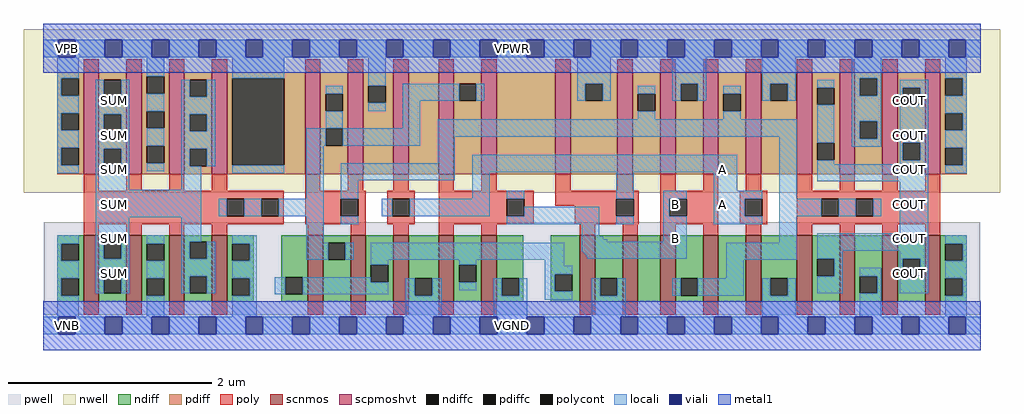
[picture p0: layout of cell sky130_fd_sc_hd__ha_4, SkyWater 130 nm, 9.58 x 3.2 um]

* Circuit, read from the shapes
.subckt sky130_fd_sc_hd__ha_4 A B VGND VNB VPB VPWR COUT SUM
XM1 SUM n1 VGND VNB sky130_fd_pr__nfet_01v8 w=0.65 l=0.15 m=4
XM2 n1 n2 n3 VNB sky130_fd_pr__nfet_01v8 w=0.65 l=0.15 m=2
XM3 VGND A n3 VNB sky130_fd_pr__nfet_01v8 w=0.65 l=0.15 m=2
XM4 n3 B VGND VNB sky130_fd_pr__nfet_01v8 w=0.65 l=0.15 m=2
XM5 n4 A VGND VNB sky130_fd_pr__nfet_01v8 w=0.65 l=0.15
XM6 n2 B n4 VNB sky130_fd_pr__nfet_01v8 w=0.65 l=0.15
XM7 n5 B n2 VNB sky130_fd_pr__nfet_01v8 w=0.65 l=0.15
XM8 VGND A n5 VNB sky130_fd_pr__nfet_01v8 w=0.65 l=0.15
XM9 COUT n2 VGND VNB sky130_fd_pr__nfet_01v8 w=0.65 l=0.15 m=4
XM10 SUM n1 VPWR VPB sky130_fd_pr__pfet_01v8_hvt w=1 l=0.15 m=4
XM11 n1 n2 VPWR VPB sky130_fd_pr__pfet_01v8_hvt w=1 l=0.15 m=2
XM12 n6 A VPWR VPB sky130_fd_pr__pfet_01v8_hvt w=1 l=0.15
XM13 n1 B n6 VPB sky130_fd_pr__pfet_01v8_hvt w=1 l=0.15
XM14 n7 B n1 VPB sky130_fd_pr__pfet_01v8_hvt w=1 l=0.15
XM15 VPWR A n7 VPB sky130_fd_pr__pfet_01v8_hvt w=1 l=0.15
XM16 n2 A VPWR VPB sky130_fd_pr__pfet_01v8_hvt w=1 l=0.15 m=2
XM17 VPWR B n2 VPB sky130_fd_pr__pfet_01v8_hvt w=1 l=0.15 m=2
XM18 COUT n2 VPWR VPB sky130_fd_pr__pfet_01v8_hvt w=1 l=0.15 m=4
.ends

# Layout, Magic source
magic
tech sky130B
magscale 1 2
<< nwell >>
rect -38 261 1878 582
<< pwell >>
rect 1 21 1839 203
rect 30 -17 64 21
<< scnmos >>
rect 79 47 109 177
rect 163 47 193 177
rect 247 47 277 177
rect 331 47 361 177
rect 519 47 549 177
rect 603 47 633 177
rect 687 47 717 177
rect 776 47 806 177
rect 860 47 890 177
rect 1053 47 1083 177
rect 1137 47 1167 177
rect 1211 47 1241 177
rect 1295 47 1325 177
rect 1379 47 1409 177
rect 1479 47 1509 177
rect 1563 47 1593 177
rect 1647 47 1677 177
rect 1731 47 1761 177
<< scpmoshvt >>
rect 79 297 109 497
rect 163 297 193 497
rect 247 297 277 497
rect 331 297 361 497
rect 514 297 544 497
rect 598 297 628 497
rect 687 297 717 497
rect 776 297 806 497
rect 860 297 890 497
rect 1005 297 1035 497
rect 1127 297 1157 497
rect 1211 297 1241 497
rect 1295 297 1325 497
rect 1379 297 1409 497
rect 1479 297 1509 497
rect 1563 297 1593 497
rect 1647 297 1677 497
rect 1731 297 1761 497
<< ndiff >>
rect 27 161 79 177
rect 27 127 35 161
rect 69 127 79 161
rect 27 93 79 127
rect 27 59 35 93
rect 69 59 79 93
rect 27 47 79 59
rect 109 165 163 177
rect 109 131 119 165
rect 153 131 163 165
rect 109 97 163 131
rect 109 63 119 97
rect 153 63 163 97
rect 109 47 163 63
rect 193 161 247 177
rect 193 127 203 161
rect 237 127 247 161
rect 193 93 247 127
rect 193 59 203 93
rect 237 59 247 93
rect 193 47 247 59
rect 277 165 331 177
rect 277 131 287 165
rect 321 131 331 165
rect 277 97 331 131
rect 277 63 287 97
rect 321 63 331 97
rect 277 47 331 63
rect 361 161 413 177
rect 361 127 371 161
rect 405 127 413 161
rect 361 93 413 127
rect 361 59 371 93
rect 405 59 413 93
rect 361 47 413 59
rect 467 95 519 177
rect 467 61 475 95
rect 509 61 519 95
rect 467 47 519 61
rect 549 163 603 177
rect 549 129 559 163
rect 593 129 603 163
rect 549 47 603 129
rect 633 119 687 177
rect 633 85 643 119
rect 677 85 687 119
rect 633 47 687 85
rect 717 93 776 177
rect 717 59 729 93
rect 763 59 776 93
rect 717 47 776 59
rect 806 119 860 177
rect 806 85 816 119
rect 850 85 860 119
rect 806 47 860 85
rect 890 93 942 177
rect 890 59 900 93
rect 934 59 942 93
rect 890 47 942 59
rect 996 101 1053 177
rect 996 67 1004 101
rect 1038 67 1053 101
rect 996 47 1053 67
rect 1083 93 1137 177
rect 1083 59 1093 93
rect 1127 59 1137 93
rect 1083 47 1137 59
rect 1167 47 1211 177
rect 1241 93 1295 177
rect 1241 59 1251 93
rect 1285 59 1295 93
rect 1241 47 1295 59
rect 1325 47 1379 177
rect 1409 93 1479 177
rect 1409 59 1427 93
rect 1461 59 1479 93
rect 1409 47 1479 59
rect 1509 131 1563 177
rect 1509 97 1519 131
rect 1553 97 1563 131
rect 1509 47 1563 97
rect 1593 97 1647 177
rect 1593 63 1603 97
rect 1637 63 1647 97
rect 1593 47 1647 63
rect 1677 131 1731 177
rect 1677 97 1687 131
rect 1721 97 1731 131
rect 1677 47 1731 97
rect 1761 161 1813 177
rect 1761 127 1771 161
rect 1805 127 1813 161
rect 1761 93 1813 127
rect 1761 59 1771 93
rect 1805 59 1813 93
rect 1761 47 1813 59
<< pdiff >>
rect 27 485 79 497
rect 27 451 35 485
rect 69 451 79 485
rect 27 417 79 451
rect 27 383 35 417
rect 69 383 79 417
rect 27 349 79 383
rect 27 315 35 349
rect 69 315 79 349
rect 27 297 79 315
rect 109 483 163 497
rect 109 449 119 483
rect 153 449 163 483
rect 109 415 163 449
rect 109 381 119 415
rect 153 381 163 415
rect 109 347 163 381
rect 109 313 119 347
rect 153 313 163 347
rect 109 297 163 313
rect 193 489 247 497
rect 193 455 203 489
rect 237 455 247 489
rect 193 421 247 455
rect 193 387 203 421
rect 237 387 247 421
rect 193 353 247 387
rect 193 319 203 353
rect 237 319 247 353
rect 193 297 247 319
rect 277 483 331 497
rect 277 449 287 483
rect 321 449 331 483
rect 277 415 331 449
rect 277 381 287 415
rect 321 381 331 415
rect 277 347 331 381
rect 277 313 287 347
rect 321 313 331 347
rect 277 297 331 313
rect 361 485 514 497
rect 361 315 371 485
rect 473 315 514 485
rect 361 297 514 315
rect 544 455 598 497
rect 544 421 554 455
rect 588 421 598 455
rect 544 387 598 421
rect 544 353 554 387
rect 588 353 598 387
rect 544 297 598 353
rect 628 471 687 497
rect 628 437 638 471
rect 672 437 687 471
rect 628 297 687 437
rect 717 297 776 497
rect 806 475 860 497
rect 806 441 816 475
rect 850 441 860 475
rect 806 297 860 441
rect 890 297 1005 497
rect 1035 475 1127 497
rect 1035 441 1064 475
rect 1098 441 1127 475
rect 1035 297 1127 441
rect 1157 455 1211 497
rect 1157 421 1167 455
rect 1201 421 1211 455
rect 1157 297 1211 421
rect 1241 475 1295 497
rect 1241 441 1251 475
rect 1285 441 1295 475
rect 1241 297 1295 441
rect 1325 455 1379 497
rect 1325 421 1335 455
rect 1369 421 1379 455
rect 1325 297 1379 421
rect 1409 475 1479 497
rect 1409 441 1427 475
rect 1461 441 1479 475
rect 1409 297 1479 441
rect 1509 467 1563 497
rect 1509 433 1519 467
rect 1553 433 1563 467
rect 1509 359 1563 433
rect 1509 325 1519 359
rect 1553 325 1563 359
rect 1509 297 1563 325
rect 1593 485 1647 497
rect 1593 451 1603 485
rect 1637 451 1647 485
rect 1593 401 1647 451
rect 1593 367 1603 401
rect 1637 367 1647 401
rect 1593 297 1647 367
rect 1677 467 1731 497
rect 1677 433 1687 467
rect 1721 433 1731 467
rect 1677 359 1731 433
rect 1677 325 1687 359
rect 1721 325 1731 359
rect 1677 297 1731 325
rect 1761 485 1813 497
rect 1761 451 1771 485
rect 1805 451 1813 485
rect 1761 417 1813 451
rect 1761 383 1771 417
rect 1805 383 1813 417
rect 1761 349 1813 383
rect 1761 315 1771 349
rect 1805 315 1813 349
rect 1761 297 1813 315
<< ndiffc >>
rect 35 127 69 161
rect 35 59 69 93
rect 119 131 153 165
rect 119 63 153 97
rect 203 127 237 161
rect 203 59 237 93
rect 287 131 321 165
rect 287 63 321 97
rect 371 127 405 161
rect 371 59 405 93
rect 475 61 509 95
rect 559 129 593 163
rect 643 85 677 119
rect 729 59 763 93
rect 816 85 850 119
rect 900 59 934 93
rect 1004 67 1038 101
rect 1093 59 1127 93
rect 1251 59 1285 93
rect 1427 59 1461 93
rect 1519 97 1553 131
rect 1603 63 1637 97
rect 1687 97 1721 131
rect 1771 127 1805 161
rect 1771 59 1805 93
<< pdiffc >>
rect 35 451 69 485
rect 35 383 69 417
rect 35 315 69 349
rect 119 449 153 483
rect 119 381 153 415
rect 119 313 153 347
rect 203 455 237 489
rect 203 387 237 421
rect 203 319 237 353
rect 287 449 321 483
rect 287 381 321 415
rect 287 313 321 347
rect 371 315 473 485
rect 554 421 588 455
rect 554 353 588 387
rect 638 437 672 471
rect 816 441 850 475
rect 1064 441 1098 475
rect 1167 421 1201 455
rect 1251 441 1285 475
rect 1335 421 1369 455
rect 1427 441 1461 475
rect 1519 433 1553 467
rect 1519 325 1553 359
rect 1603 451 1637 485
rect 1603 367 1637 401
rect 1687 433 1721 467
rect 1687 325 1721 359
rect 1771 451 1805 485
rect 1771 383 1805 417
rect 1771 315 1805 349
<< poly >>
rect 79 497 109 523
rect 163 497 193 523
rect 247 497 277 523
rect 331 497 361 523
rect 514 497 544 523
rect 598 497 628 523
rect 687 497 717 523
rect 776 497 806 523
rect 860 497 890 523
rect 1005 497 1035 523
rect 1127 497 1157 523
rect 1211 497 1241 523
rect 1295 497 1325 523
rect 1379 497 1409 523
rect 1479 497 1509 523
rect 1563 497 1593 523
rect 1647 497 1677 523
rect 1731 497 1761 523
rect 79 265 109 297
rect 163 265 193 297
rect 247 265 277 297
rect 331 265 361 297
rect 514 265 544 297
rect 598 265 628 297
rect 687 265 717 297
rect 776 265 806 297
rect 860 265 890 297
rect 1005 265 1035 297
rect 1127 265 1157 297
rect 1211 265 1241 297
rect 1295 265 1325 297
rect 1379 265 1409 297
rect 1479 265 1509 297
rect 1563 265 1593 297
rect 1647 265 1677 297
rect 1731 265 1761 297
rect 79 249 472 265
rect 79 215 360 249
rect 394 215 428 249
rect 462 215 472 249
rect 79 199 472 215
rect 514 249 633 265
rect 514 215 584 249
rect 618 215 633 249
rect 514 199 633 215
rect 675 249 729 265
rect 675 215 685 249
rect 719 215 729 249
rect 675 199 729 215
rect 776 249 963 265
rect 776 215 910 249
rect 944 215 963 249
rect 1005 249 1169 265
rect 1005 235 1125 249
rect 776 199 963 215
rect 1043 215 1125 235
rect 1159 215 1169 249
rect 1043 199 1169 215
rect 1211 249 1325 265
rect 1211 215 1229 249
rect 1263 215 1325 249
rect 1211 199 1325 215
rect 1367 249 1421 265
rect 1367 215 1377 249
rect 1411 215 1421 249
rect 1367 199 1421 215
rect 1479 249 1761 265
rect 1479 215 1527 249
rect 1561 215 1595 249
rect 1629 215 1761 249
rect 1479 199 1761 215
rect 79 177 109 199
rect 163 177 193 199
rect 247 177 277 199
rect 331 177 361 199
rect 519 177 549 199
rect 603 177 633 199
rect 687 177 717 199
rect 776 177 806 199
rect 860 177 890 199
rect 1053 177 1083 199
rect 1137 177 1167 199
rect 1211 177 1241 199
rect 1295 177 1325 199
rect 1379 177 1409 199
rect 1479 177 1509 199
rect 1563 177 1593 199
rect 1647 177 1677 199
rect 1731 177 1761 199
rect 79 21 109 47
rect 163 21 193 47
rect 247 21 277 47
rect 331 21 361 47
rect 519 21 549 47
rect 603 21 633 47
rect 687 21 717 47
rect 776 21 806 47
rect 860 21 890 47
rect 1053 21 1083 47
rect 1137 21 1167 47
rect 1211 21 1241 47
rect 1295 21 1325 47
rect 1379 21 1409 47
rect 1479 21 1509 47
rect 1563 21 1593 47
rect 1647 21 1677 47
rect 1731 21 1761 47
<< polycont >>
rect 360 215 394 249
rect 428 215 462 249
rect 584 215 618 249
rect 685 215 719 249
rect 910 215 944 249
rect 1125 215 1159 249
rect 1229 215 1263 249
rect 1377 215 1411 249
rect 1527 215 1561 249
rect 1595 215 1629 249
<< locali >>
rect 0 527 29 561
rect 63 527 121 561
rect 155 527 213 561
rect 247 527 305 561
rect 339 527 397 561
rect 431 527 489 561
rect 523 527 581 561
rect 615 527 673 561
rect 707 527 765 561
rect 799 527 857 561
rect 891 527 949 561
rect 983 527 1041 561
rect 1075 527 1133 561
rect 1167 527 1225 561
rect 1259 527 1317 561
rect 1351 527 1409 561
rect 1443 527 1501 561
rect 1535 527 1593 561
rect 1627 527 1685 561
rect 1719 527 1777 561
rect 1811 527 1840 561
rect 27 485 69 527
rect 27 451 35 485
rect 203 489 237 527
rect 27 417 69 451
rect 27 383 35 417
rect 27 349 69 383
rect 27 315 35 349
rect 27 299 69 315
rect 103 449 119 483
rect 153 449 169 483
rect 103 415 169 449
rect 103 381 119 415
rect 153 381 169 415
rect 103 347 169 381
rect 103 313 119 347
rect 153 313 169 347
rect 103 267 169 313
rect 371 485 473 527
rect 203 421 237 455
rect 203 353 237 387
rect 203 303 237 319
rect 271 449 287 483
rect 321 449 337 483
rect 271 415 337 449
rect 271 381 287 415
rect 321 381 337 415
rect 271 347 337 381
rect 271 313 287 347
rect 321 313 337 347
rect 638 471 672 527
rect 1048 475 1114 527
rect 554 455 588 471
rect 638 421 672 437
rect 706 441 816 475
rect 850 441 866 475
rect 1048 441 1064 475
rect 1098 441 1114 475
rect 1235 475 1301 527
rect 1167 455 1201 471
rect 554 387 588 421
rect 706 387 740 441
rect 1235 441 1251 475
rect 1285 441 1301 475
rect 1411 475 1477 527
rect 1587 485 1645 527
rect 1335 455 1369 471
rect 1167 405 1201 421
rect 1411 441 1427 475
rect 1461 441 1477 475
rect 1519 467 1553 483
rect 1335 405 1369 421
rect 271 267 310 313
rect 371 299 473 315
rect 516 353 554 387
rect 588 353 740 387
rect 774 371 1479 405
rect 103 213 310 267
rect 516 249 550 353
rect 774 319 808 371
rect 344 215 360 249
rect 394 215 428 249
rect 462 215 550 249
rect 27 161 69 177
rect 27 127 35 161
rect 27 93 69 127
rect 27 59 35 93
rect 103 165 169 213
rect 103 131 119 165
rect 153 131 169 165
rect 103 97 169 131
rect 103 63 119 97
rect 153 63 169 97
rect 203 161 237 177
rect 203 93 237 127
rect 27 17 69 59
rect 271 165 310 213
rect 271 131 287 165
rect 321 131 337 165
rect 271 97 337 131
rect 271 63 287 97
rect 321 63 337 97
rect 371 161 419 177
rect 405 127 419 161
rect 516 163 550 215
rect 584 285 808 319
rect 842 301 1362 335
rect 584 249 618 285
rect 842 249 876 301
rect 664 215 685 249
rect 719 215 876 249
rect 910 249 944 265
rect 1125 249 1159 301
rect 1316 265 1362 301
rect 944 215 1091 233
rect 584 199 618 215
rect 910 199 1091 215
rect 1125 199 1159 215
rect 1217 249 1263 265
rect 1217 215 1229 249
rect 1057 175 1091 199
rect 1057 169 1099 175
rect 1057 165 1107 169
rect 1217 165 1263 215
rect 1316 249 1411 265
rect 1316 215 1377 249
rect 1316 199 1411 215
rect 1445 249 1479 371
rect 1519 359 1553 433
rect 1587 451 1603 485
rect 1637 451 1645 485
rect 1771 485 1813 527
rect 1587 401 1645 451
rect 1587 367 1603 401
rect 1637 367 1645 401
rect 1587 351 1645 367
rect 1681 467 1737 483
rect 1681 433 1687 467
rect 1721 433 1737 467
rect 1681 359 1737 433
rect 1519 317 1553 325
rect 1681 325 1687 359
rect 1721 325 1737 359
rect 1681 317 1737 325
rect 1519 283 1737 317
rect 1805 451 1813 485
rect 1771 417 1813 451
rect 1805 383 1813 417
rect 1771 349 1813 383
rect 1805 315 1813 349
rect 1771 299 1813 315
rect 1445 215 1527 249
rect 1561 215 1595 249
rect 1629 215 1645 249
rect 516 129 559 163
rect 593 129 609 163
rect 643 129 1023 163
rect 1057 146 1263 165
rect 1445 163 1479 215
rect 1681 181 1737 283
rect 1059 144 1263 146
rect 1062 142 1263 144
rect 1064 139 1263 142
rect 1067 135 1263 139
rect 1069 131 1263 135
rect 371 93 419 127
rect 643 119 677 129
rect 203 17 237 59
rect 405 59 419 93
rect 454 61 475 95
rect 509 85 643 95
rect 816 119 850 129
rect 509 61 677 85
rect 371 17 419 59
rect 711 59 729 93
rect 763 59 782 93
rect 984 117 1023 129
rect 1341 129 1479 163
rect 1519 147 1737 181
rect 1519 131 1569 147
rect 984 101 1038 117
rect 816 69 850 85
rect 711 17 782 59
rect 884 59 900 93
rect 934 59 950 93
rect 884 17 950 59
rect 984 67 1004 101
rect 1341 93 1375 129
rect 1553 97 1569 131
rect 1681 131 1737 147
rect 984 51 1038 67
rect 1077 59 1093 93
rect 1127 59 1143 93
rect 1235 59 1251 93
rect 1285 59 1375 93
rect 1411 59 1427 93
rect 1461 59 1477 93
rect 1519 63 1569 97
rect 1603 97 1645 113
rect 1637 63 1645 97
rect 1681 97 1687 131
rect 1721 97 1737 131
rect 1681 63 1737 97
rect 1771 161 1813 177
rect 1805 127 1813 161
rect 1771 93 1813 127
rect 1077 17 1143 59
rect 1411 17 1477 59
rect 1603 17 1645 63
rect 1805 59 1813 93
rect 1771 17 1813 59
rect 0 -17 29 17
rect 63 -17 121 17
rect 155 -17 213 17
rect 247 -17 305 17
rect 339 -17 397 17
rect 431 -17 489 17
rect 523 -17 581 17
rect 615 -17 673 17
rect 707 -17 765 17
rect 799 -17 857 17
rect 891 -17 949 17
rect 983 -17 1041 17
rect 1075 -17 1133 17
rect 1167 -17 1225 17
rect 1259 -17 1317 17
rect 1351 -17 1409 17
rect 1443 -17 1501 17
rect 1535 -17 1593 17
rect 1627 -17 1685 17
rect 1719 -17 1777 17
rect 1811 -17 1840 17
<< viali >>
rect 29 527 63 561
rect 121 527 155 561
rect 213 527 247 561
rect 305 527 339 561
rect 397 527 431 561
rect 489 527 523 561
rect 581 527 615 561
rect 673 527 707 561
rect 765 527 799 561
rect 857 527 891 561
rect 949 527 983 561
rect 1041 527 1075 561
rect 1133 527 1167 561
rect 1225 527 1259 561
rect 1317 527 1351 561
rect 1409 527 1443 561
rect 1501 527 1535 561
rect 1593 527 1627 561
rect 1685 527 1719 561
rect 1777 527 1811 561
rect 29 -17 63 17
rect 121 -17 155 17
rect 213 -17 247 17
rect 305 -17 339 17
rect 397 -17 431 17
rect 489 -17 523 17
rect 581 -17 615 17
rect 673 -17 707 17
rect 765 -17 799 17
rect 857 -17 891 17
rect 949 -17 983 17
rect 1041 -17 1075 17
rect 1133 -17 1167 17
rect 1225 -17 1259 17
rect 1317 -17 1351 17
rect 1409 -17 1443 17
rect 1501 -17 1535 17
rect 1593 -17 1627 17
rect 1685 -17 1719 17
rect 1777 -17 1811 17
<< metal1 >>
rect 0 561 1840 592
rect 0 527 29 561
rect 63 527 121 561
rect 155 527 213 561
rect 247 527 305 561
rect 339 527 397 561
rect 431 527 489 561
rect 523 527 581 561
rect 615 527 673 561
rect 707 527 765 561
rect 799 527 857 561
rect 891 527 949 561
rect 983 527 1041 561
rect 1075 527 1133 561
rect 1167 527 1225 561
rect 1259 527 1317 561
rect 1351 527 1409 561
rect 1443 527 1501 561
rect 1535 527 1593 561
rect 1627 527 1685 561
rect 1719 527 1777 561
rect 1811 527 1840 561
rect 0 496 1840 527
rect 0 17 1840 48
rect 0 -17 29 17
rect 63 -17 121 17
rect 155 -17 213 17
rect 247 -17 305 17
rect 339 -17 397 17
rect 431 -17 489 17
rect 523 -17 581 17
rect 615 -17 673 17
rect 707 -17 765 17
rect 799 -17 857 17
rect 891 -17 949 17
rect 983 -17 1041 17
rect 1075 -17 1133 17
rect 1167 -17 1225 17
rect 1259 -17 1317 17
rect 1351 -17 1409 17
rect 1443 -17 1501 17
rect 1535 -17 1593 17
rect 1627 -17 1685 17
rect 1719 -17 1777 17
rect 1811 -17 1840 17
rect 0 -48 1840 -17
<< labels >>
flabel pwell s 30 -17 64 17 0 FreeSans 200 0 0 0 VNB
port 4 nsew ground bidirectional
flabel nwell s 30 527 64 561 0 FreeSans 200 0 0 0 VPB
port 5 nsew power bidirectional
flabel metal1 s 30 -17 64 17 0 FreeSans 200 0 0 0 VGND
port 3 nsew ground bidirectional abutment
flabel metal1 s 30 527 64 561 0 FreeSans 200 0 0 0 VPWR
port 6 nsew power bidirectional abutment
flabel locali s 1316 221 1350 255 0 FreeSans 340 0 0 0 A
port 1 nsew signal input
flabel locali s 1684 357 1718 391 0 FreeSans 340 0 0 0 COUT
port 7 nsew signal output
flabel locali s 1684 85 1718 119 0 FreeSans 340 0 0 0 COUT
port 7 nsew signal output
flabel locali s 122 85 156 119 0 FreeSans 340 0 0 0 SUM
port 8 nsew signal output
flabel locali s 122 153 156 187 0 FreeSans 340 0 0 0 SUM
port 8 nsew signal output
flabel locali s 122 221 156 255 0 FreeSans 340 0 0 0 SUM
port 8 nsew signal output
flabel locali s 122 289 156 323 0 FreeSans 340 0 0 0 SUM
port 8 nsew signal output
flabel locali s 122 357 156 391 0 FreeSans 340 0 0 0 SUM
port 8 nsew signal output
flabel locali s 122 425 156 459 0 FreeSans 340 0 0 0 SUM
port 8 nsew signal output
flabel locali s 1684 425 1718 459 0 FreeSans 340 0 0 0 COUT
port 7 nsew signal output
flabel locali s 1316 289 1350 323 0 FreeSans 340 0 0 0 A
port 1 nsew signal input
flabel locali s 1224 221 1258 255 0 FreeSans 340 0 0 0 B
port 2 nsew signal input
flabel locali s 1224 153 1258 187 0 FreeSans 340 0 0 0 B
port 2 nsew signal input
flabel locali s 1684 153 1718 187 0 FreeSans 340 0 0 0 COUT
port 7 nsew signal output
flabel locali s 1684 221 1718 255 0 FreeSans 340 0 0 0 COUT
port 7 nsew signal output
flabel locali s 1684 289 1718 323 0 FreeSans 340 0 0 0 COUT
port 7 nsew signal output
rlabel comment s 0 0 0 0 4 ha_4
rlabel metal1 s 0 -48 1840 48 1 VGND
port 3 nsew ground bidirectional abutment
rlabel metal1 s 0 496 1840 592 1 VPWR
port 6 nsew power bidirectional abutment
<< properties >>
string FIXED_BBOX 0 0 1840 544
string GDS_END 2190846
string GDS_FILE $PDKPATH/libs.ref/sky130_fd_sc_hd/gds/sky130_fd_sc_hd.gds
string GDS_START 2176828
string LEFclass CORE
string LEFsite unithd
string LEFsymmetry X Y R90
string path 0.000 0.000 46.000 0.000 
<< end >>
